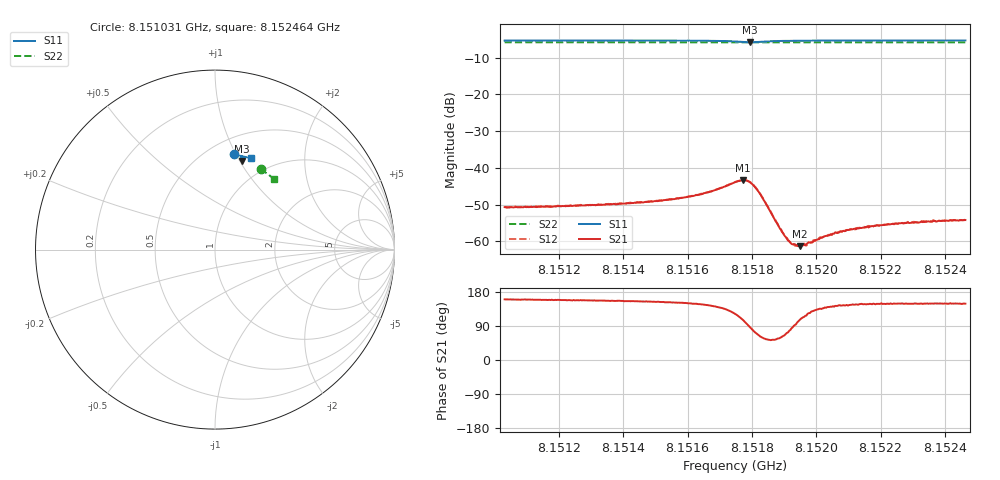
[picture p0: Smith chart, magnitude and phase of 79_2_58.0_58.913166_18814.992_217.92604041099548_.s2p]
#  HZ  S  RI  R  50.00
! Rohde & Schwarz Vector Network Analyzer
! Rohde-Schwarz,ZNB20-2Port,1311601062101988,3.16
! Created: UTC 3/21/2024, 12:53:49 AM
! freq[Hz]  re:S11  im:S11  re:S21  im:S21  re:S12  im:S12  re:S22  im:S22
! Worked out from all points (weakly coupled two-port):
!   401 points, 8.151031 GHz to 8.152464 GHz, reference 50 ohm
!   highest |S21| = -43.36 dB at 8.151773 GHz (marker M1); lowest = -61.3 dB at 8.151948 GHz (marker M2)
!   lowest |S11| = -5.8 dB at 8.151794 GHz (marker M3), VSWR 3.13, Z = 38 + j51 ohm
!   |S11| at or under -10 dB: nowhere
!   |S22| runs from -5.8 to -5.8 dB; largest |S21 - S12| = 0.00015
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8.1510315e9  0.1061 0.5324  -0.00274 0.000994  -0.00273 0.000991  0.2536 0.4473
8.1512713e9  0.1235 0.529  -0.00284 0.00118  -0.00285 0.00124  0.2668 0.4393
8.1515112e9  0.1421 0.5241  -0.00318 0.0016  -0.0032 0.00166  0.2799 0.4306
8.1516401e9  0.1539 0.5188  -0.00365 0.00236  -0.00366 0.00247  0.2868 0.4259
8.1516938e9  0.1596 0.5139  -0.00391 0.00332  -0.00387 0.0034  0.2895 0.4236
8.1517475e9  0.1628 0.5024  -0.00336 0.00541  -0.00332 0.00548  0.2921 0.4213
8.1517726e9  0.1579 0.4949  -0.00181 0.00655  -0.00172 0.00662  0.2932 0.4201
8.1517941e9  0.149 0.4933  0.000372 0.00635  0.000482 0.0064  0.2938 0.4195
8.1518084e9  0.1433 0.4965  0.00153 0.00533  0.00161 0.00541  0.2944 0.4192
8.1518227e9  0.1408 0.5018  0.00204 0.00413  0.00211 0.00418  0.295 0.4188
8.1518907e9  0.1488 0.5159  0.000725 0.00125  0.000737 0.0012  0.299 0.4169
8.1519122e9  0.152 0.517  0.000302 0.000973  0.000303 0.001  0.3003 0.416
8.1519301e9  0.1543 0.5174  2.67e-06 0.00091  4.39e-05 0.000908  0.3012 0.4153
8.151948e9  0.1566 0.5176  -0.000225 0.000826  -0.000214 0.000863  0.3022 0.4146
8.1519731e9  0.1595 0.5176  -0.000495 0.000802  -0.000491 0.000785  0.3035 0.4137
8.1519874e9  0.161 0.5174  -0.000601 0.000751  -0.000593 0.000781  0.3043 0.4132
8.1520089e9  0.1631 0.5173  -0.00075 0.000755  -0.000729 0.000811  0.3054 0.4121
8.1520519e9  0.1671 0.5167  -0.001 0.000782  -0.000998 0.000784  0.3075 0.4105
8.1520912e9  0.1705 0.516  -0.00112 0.00081  -0.00114 0.000834  0.3096 0.409
8.1522273e9  0.1811 0.5132  -0.00144 0.000901  -0.00146 0.00089  0.3165 0.4035
8.1523275e9  0.1884 0.5109  -0.00157 0.00095  -0.0016 0.001  0.3215 0.3994
8.1524636e9  0.1978 0.5076  -0.00166 0.00101  -0.00168 0.00104  0.3282 0.3936
